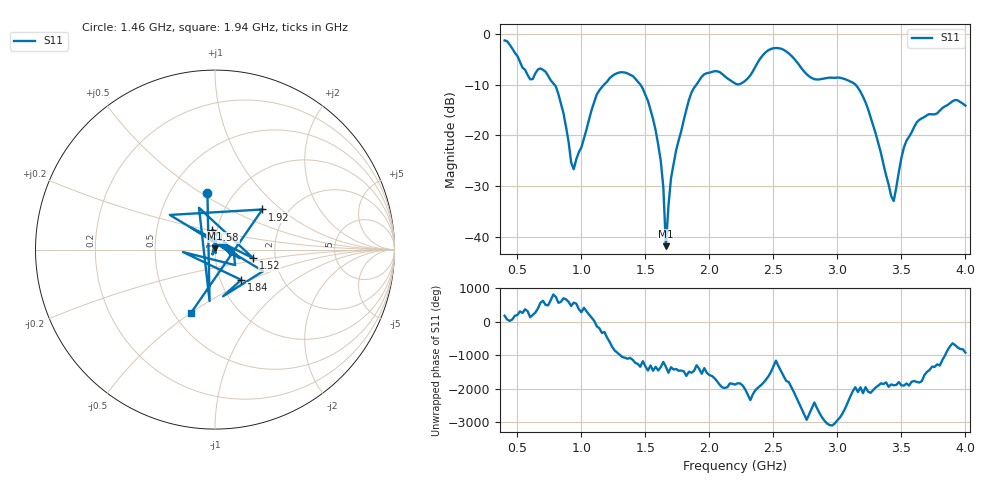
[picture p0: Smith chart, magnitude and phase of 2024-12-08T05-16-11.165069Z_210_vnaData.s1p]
!Created with skrf (http://scikit-rf.org).
# Hz S RI R 50.0
!freq ReS11 ImS11
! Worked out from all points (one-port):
!   181 points, 400 MHz to 4 GHz, reference 50 ohm
!   lowest |S11| = -41.9 dB at 1.66 GHz (marker M1), VSWR 1.02, Z = 49.9 + j0.796 ohm
!   |S11| at or under -10 dB: 788.4 MHz to 1.177 GHz (389 MHz wide, 39.6 % of centre); 1.461 GHz to 1.899 GHz (438.2 MHz wide, 26.1 % of centre); 3.141 GHz to end of sweep
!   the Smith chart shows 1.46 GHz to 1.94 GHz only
!   S11 on the Smith chart (normalised r, x): 1.46 GHz: 0.76, +0.53; 1.52 GHz: 1.53, -0.16; 1.58 GHz: 0.95, +0.21; 1.84 GHz: 1.25, -0.45; 1.92 GHz: 1.49, +0.76; 1.94 GHz: 0.61, -0.50
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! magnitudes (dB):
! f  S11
! 400 MHz  -1.3
! 600 MHz  -9.0
! 720 MHz  -7.5
! 860 MHz  -15.7
! 940 MHz  -26.7
! 1.12 GHz  -11.9
! 1.3 GHz  -7.6
! 1.46 GHz  -10.0
! 1.52 GHz  -13.2
! 1.58 GHz  -19.0
! 1.64 GHz  -30.2
! 1.66 GHz  -41.9
! 1.7 GHz  -28.5
! 1.76 GHz  -21.0
! 1.84 GHz  -13.0
! 1.92 GHz  -9.2
! 1.94 GHz  -8.4
! 2.2 GHz  -9.8
! 2.48 GHz  -3.0
! 2.66 GHz  -4.8
! 2.82 GHz  -8.9
! 3.1 GHz  -9.4
! 3.24 GHz  -14.9
! 3.44 GHz  -33.0
! 3.5 GHz  -24.5
! 3.56 GHz  -20.3
! 3.7 GHz  -16.0
! 4 GHz  -14.1
